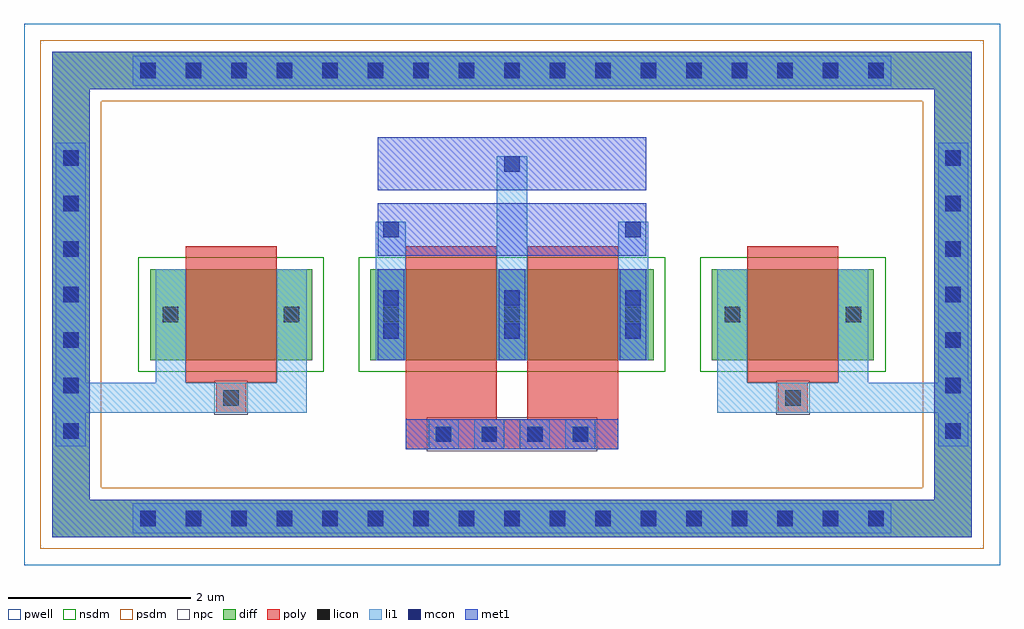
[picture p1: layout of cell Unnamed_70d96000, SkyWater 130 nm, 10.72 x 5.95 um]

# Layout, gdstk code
import gdstk
lib = gdstk.Library(unit=1e-6, precision=5e-09)
def R(c, l, rs):  # rectangles x0, y0, x1, y1
    for r in rs: c.add(gdstk.rectangle(r[:2], r[2:], *l))
def A(c, l, x, y, w, h, nx, ny, dx, dy):  # array of equal rectangles
    R(c, l, [(x+i*dx, y+j*dy, x+i*dx+w, y+j*dy+h) for i in range(nx) for j in range(ny)])
def P(c, l, *ps):  # polygons
    for p in ps: c.add(gdstk.Polygon(p, *l))
pwell = (64, 44)
diff = (65, 20)
poly = (66, 20)
licon = (66, 44)
li1 = (67, 20)
mcon = (67, 44)
met1 = (68, 20)
nsdm = (93, 44)
psdm = (94, 20)
npc = (95, 20)

unnamed_70d96000 = lib.new_cell('Unnamed_70d96000')
R(unnamed_70d96000, pwell, [(-5.36,-2.975,5.36,2.975)])
A(unnamed_70d96000, diff, -4.205, -2.665, 0.41, 0.41, 17, 2, 0.5, 4.92)
A(unnamed_70d96000, diff, -5.05, -1.705, 0.41, 0.41, 1, 7, 0, 0.5)
A(unnamed_70d96000, diff, 4.64, -1.705, 0.41, 0.41, 1, 7, 0, 0.5)
R(unnamed_70d96000, diff, [(-4.205,-2.665,4.205,-2.255), (-5.05,-1.705,-4.64,1.705), (4.64,-1.705,5.05,1.705), (-3.975,-0.72,-2.195,0.28), (-1.555,-0.72,1.555,0.28), (2.195,-0.72,3.975,0.28), (-4.205,2.255,4.205,2.665)])
P(unnamed_70d96000, diff, [(5.05,2.665),(-5.05,2.665),(-5.05,-2.255),(-4.64,-2.255),(-4.64,2.255),(4.64,2.255),(4.64,-2.255),(-4.64,-2.255),(-5.05,-2.255),(-5.05,-2.665),(5.05,-2.665)])
A(unnamed_70d96000, poly, -0.915, -1.7, 0.33, 0.33, 4, 1, 0.5, 0)
R(unnamed_70d96000, poly, [(-1.165,-1.7,1.165,-1.37), (-1.165,-1.37,-0.165,-0.97), (0.165,-1.37,1.165,-0.97), (-3.25,-1.3,-2.92,-0.97), (-3.25,-1.3,-2.92,-0.97), (2.92,-1.3,3.25,-0.97), (2.92,-1.3,3.25,-0.97), (-3.585,-0.97,-2.585,0.53), (-1.165,-0.97,-0.165,0.53), (0.165,-0.97,1.165,0.53), (2.585,-0.97,3.585,0.53)])
A(unnamed_70d96000, licon, -4.085, -2.545, 0.17, 0.17, 17, 2, 0.5, 4.92)
A(unnamed_70d96000, licon, -0.835, -1.62, 0.17, 0.17, 4, 1, 0.5, 0)
A(unnamed_70d96000, licon, -4.93, -1.585, 0.17, 0.17, 1, 7, 0, 0.5)
A(unnamed_70d96000, licon, 4.76, -1.585, 0.17, 0.17, 1, 7, 0, 0.5)
A(unnamed_70d96000, licon, -1.415, -0.305, 0.17, 0.17, 3, 1, 1.33, 0)
R(unnamed_70d96000, licon, [(-3.17,-1.22,-3,-1.05), (3,-1.22,3.17,-1.05), (-3.835,-0.305,-3.665,-0.135), (-2.505,-0.305,-2.335,-0.135), (2.335,-0.305,2.505,-0.135), (3.665,-0.305,3.835,-0.135)])
A(unnamed_70d96000, li1, -4.165, -2.625, 0.33, 0.33, 17, 2, 0.5, 4.92)
A(unnamed_70d96000, li1, -0.915, -1.7, 0.33, 0.33, 4, 1, 0.5, 0)
A(unnamed_70d96000, li1, -5.01, -1.665, 0.33, 0.33, 1, 7, 0, 0.5)
A(unnamed_70d96000, li1, 4.68, -1.665, 0.33, 0.33, 1, 7, 0, 0.5)
A(unnamed_70d96000, li1, -1.495, -0.72, 0.33, 1, 3, 1, 1.33, 0)
A(unnamed_70d96000, li1, -1.415, -0.485, 0.17, 0.17, 3, 2, 1.33, 0.36)
A(unnamed_70d96000, li1, -1.415, -0.485, 0.17, 0.53, 3, 1, 1.33, 0)
A(unnamed_70d96000, li1, -1.495, -0.385, 0.33, 0.33, 3, 1, 1.33, 0)
R(unnamed_70d96000, li1, [(-4.165,-2.625,4.165,-2.295), (-5.01,-1.665,-4.68,1.665), (4.68,-1.665,5.01,1.665), (-5.05,-1.3,-3.25,-0.97), (-3.915,-1.3,-3.25,-0.97), (-3.915,-1.3,-3.585,-0.72), (-3.25,-1.3,-2.92,-0.97), (-2.92,-1.3,-2.255,-0.97), (-2.585,-1.3,-2.255,-0.72), (2.255,-1.3,2.92,-0.97), (2.255,-1.3,2.585,-0.72), (2.92,-1.3,3.25,-0.97), (2.92,-1.3,5.05,-0.97), (3.25,-1.3,3.915,-0.97), (3.585,-1.3,3.915,-0.72), (-3.915,-0.72,-3.585,0.28), (-2.585,-0.72,-2.255,0.28), (2.255,-0.72,2.585,0.28), (3.585,-0.72,3.915,0.28), (-3.915,-0.385,-3.585,-0.055), (-2.585,-0.385,-2.255,-0.055), (2.255,-0.385,2.585,-0.055), (3.585,-0.385,3.915,-0.055), (-1.495,0.28,-1.165,0.8), (-0.165,0.28,0.165,1.52), (1.165,0.28,1.495,0.8), (-1.415,0.63,-1.245,0.8), (1.245,0.63,1.415,0.8), (-0.085,1.35,0.085,1.52), (-4.165,2.295,4.165,2.625)])
A(unnamed_70d96000, mcon, -4.085, -2.545, 0.17, 0.17, 17, 2, 0.5, 4.92)
A(unnamed_70d96000, mcon, -0.835, -1.62, 0.17, 0.17, 4, 1, 0.5, 0)
A(unnamed_70d96000, mcon, -4.93, -1.585, 0.17, 0.17, 1, 7, 0, 0.5)
A(unnamed_70d96000, mcon, 4.76, -1.585, 0.17, 0.17, 1, 7, 0, 0.5)
A(unnamed_70d96000, mcon, -1.415, -0.485, 0.17, 0.17, 3, 2, 1.33, 0.36)
R(unnamed_70d96000, mcon, [(-1.415,0.63,-1.245,0.8), (1.245,0.63,1.415,0.8), (-0.085,1.35,0.085,1.52)])
A(unnamed_70d96000, met1, -4.145, -2.605, 0.29, 0.29, 17, 2, 0.5, 4.92)
A(unnamed_70d96000, met1, -0.895, -1.68, 0.29, 0.29, 4, 1, 0.5, 0)
A(unnamed_70d96000, met1, -4.99, -1.645, 0.29, 0.29, 1, 7, 0, 0.5)
A(unnamed_70d96000, met1, 4.7, -1.645, 0.29, 0.29, 1, 7, 0, 0.5)
A(unnamed_70d96000, met1, -1.475, -0.72, 0.29, 1, 3, 1, 1.33, 0)
A(unnamed_70d96000, met1, -1.475, -0.545, 0.29, 0.29, 3, 2, 1.33, 0.36)
R(unnamed_70d96000, met1, [(-5.05,-2.665,-4.64,-2.255), (-5.05,-2.665,-4.64,-2.255), (-4.64,-2.665,4.64,-2.255), (4.64,-2.665,5.05,-2.255), (4.64,-2.665,5.05,-2.255), (-5.05,-2.255,-4.64,2.255), (4.64,-2.255,5.05,2.255), (-1.165,-1.7,1.165,-1.37), (-1.475,0.425,1.475,1.005), (-1.475,0.57,-1.185,0.86), (1.185,0.57,1.475,0.86), (-1.475,1.145,1.475,1.725), (-0.145,1.29,0.145,1.58), (-5.05,2.255,-4.64,2.665), (-5.05,2.255,-4.64,2.665), (-4.64,2.255,4.64,2.665), (4.64,2.255,5.05,2.665), (4.64,2.255,5.05,2.665)])
R(unnamed_70d96000, nsdm, [(-4.105,-0.85,-2.065,0.41), (-1.685,-0.85,1.685,0.41), (2.065,-0.85,4.105,0.41)])
P(unnamed_70d96000, psdm, [(5.18,2.795),(-5.18,2.795),(-5.18,-2.125),(-4.51,-2.125),(-4.51,2.125),(4.51,2.125),(4.51,-2.125),(-4.51,-2.125),(-5.18,-2.125),(-5.18,-2.795),(5.18,-2.795)])
A(unnamed_70d96000, npc, -0.935, -1.72, 0.37, 0.37, 4, 1, 0.5, 0)
R(unnamed_70d96000, npc, [(-0.935,-1.72,-0.065,-1.35), (-0.935,-1.72,-0.065,-1.35), (-0.435,-1.72,0.435,-1.35), (-0.435,-1.72,0.435,-1.35), (0.065,-1.72,0.935,-1.35), (0.065,-1.72,0.935,-1.35), (-3.27,-1.32,-2.9,-0.95), (2.9,-1.32,3.27,-0.95)])

lib.write_gds('Unnamed_70d96000.gds')
